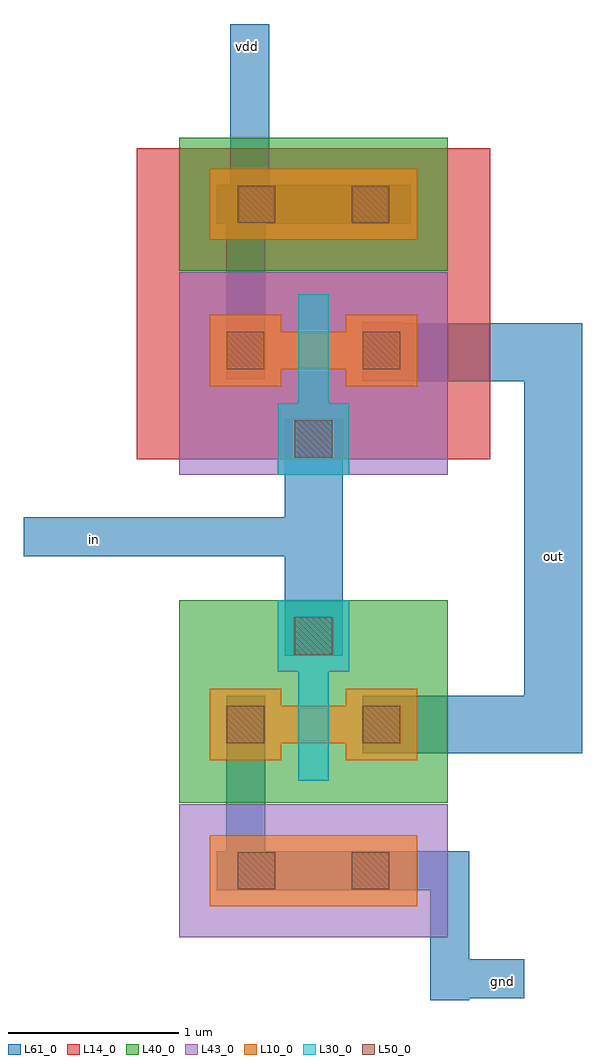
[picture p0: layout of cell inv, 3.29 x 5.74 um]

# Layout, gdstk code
import gdstk
lib = gdstk.Library(unit=1e-6, precision=1e-09)
def R(c, l, rs):  # rectangles x0, y0, x1, y1
    for r in rs: c.add(gdstk.rectangle(r[:2], r[2:], *l))
L10_0 = (10, 0)
L14_0 = (14, 0)
L30_0 = (30, 0)
L40_0 = (40, 0)
L43_0 = (43, 0)
L50_0 = (50, 0)
L61_0 = (61, 0)

n18_cdns_777785504870 = lib.new_cell('n18_CDNS_777785504870')
R(n18_cdns_777785504870, L10_0, [(-0.52,-0.96,0.7,-0.54), (-0.52,-0.1,-0.1,0.32), (0.28,-0.1,0.7,0.32), (-0.1,0,0,0.22), (0,0,0.18,0.22), (0.18,0,0.28,0.22)])
R(n18_cdns_777785504870, L30_0, [(0,-0.22,0.18,0), (0,0,0.18,0.22), (0,0.22,0.18,0.42), (-0.12,0.42,0.3,0.84)])
R(n18_cdns_777785504870, L40_0, [(-0.7,-0.35,0.88,0.84)])
R(n18_cdns_777785504870, L43_0, [(-0.7,-1.14,0.88,-0.36)])
R(n18_cdns_777785504870, L50_0, [(-0.355,-0.86,-0.135,-0.64), (0.315,-0.86,0.535,-0.64), (-0.42,0,-0.2,0.22), (0.38,0,0.6,0.22), (-0.02,0.52,0.2,0.74)])
R(n18_cdns_777785504870, L61_0, [(-0.48,-0.865,0.66,-0.635), (-0.425,-0.06,-0.195,0.28), (0.375,-0.06,0.605,0.28), (-0.08,0.515,0.26,0.745)])
n18_cdns_777785504870.add(gdstk.Label('& Metric 1.0', (0.005,0.001), layer=63, texttype=63))
n18_cdns_777785504870.add(gdstk.Label('& Product "0.18um Mixed Signal 1.8/3.3V Enhanced Cadence PDK (ON6J)"', (0.029,0.003), layer=63, texttype=63))
n18_cdns_777785504870.add(gdstk.Label('& Vendor "Semiconductor Manufacturing International Corporation."', (0.027,0.005), layer=63, texttype=63))

p18_cdns_777785504871 = lib.new_cell('p18_CDNS_777785504871')
R(p18_cdns_777785504871, L10_0, [(-0.52,-0.1,-0.1,0.32), (0.28,-0.1,0.7,0.32), (-0.1,0,0,0.22), (0,0,0.18,0.22), (0.18,0,0.28,0.22), (-0.52,0.76,0.7,1.18)])
R(p18_cdns_777785504871, L14_0, [(-0.95,-0.53,1.13,1.3)])
R(p18_cdns_777785504871, L30_0, [(-0.12,-0.62,0.3,-0.2), (0,-0.2,0.18,0), (0,0,0.18,0.22), (0,0.22,0.18,0.44)])
R(p18_cdns_777785504871, L40_0, [(-0.7,0.58,0.88,1.36)])
R(p18_cdns_777785504871, L43_0, [(-0.7,-0.62,0.88,0.57)])
R(p18_cdns_777785504871, L50_0, [(-0.02,-0.52,0.2,-0.3), (-0.42,0,-0.2,0.22), (0.38,0,0.6,0.22), (-0.355,0.86,-0.135,1.08), (0.315,0.86,0.535,1.08)])
R(p18_cdns_777785504871, L61_0, [(-0.08,-0.525,0.26,-0.295), (-0.425,-0.06,-0.195,0.28), (0.375,-0.06,0.605,0.28), (-0.48,0.855,0.66,1.085)])
p18_cdns_777785504871.add(gdstk.Label('& Metric 1.0', (0.005,0.001), layer=63, texttype=63))
p18_cdns_777785504871.add(gdstk.Label('& Product "0.18um Mixed Signal 1.8/3.3V Enhanced Cadence PDK (ON6J)"', (0.029,0.003), layer=63, texttype=63))
p18_cdns_777785504871.add(gdstk.Label('& Vendor "Semiconductor Manufacturing International Corporation."', (0.027,0.005), layer=63, texttype=63))

inv = lib.new_cell('inv')
R(inv, L61_0, [(2.6,-6.6,2.83,-6.37), (2.9,-4.1,3.13,-3.87), (0.2,-4,0.43,-3.77), (1.1,-1.1,1.33,-0.87)])
inv.add(gdstk.FlexPath([(2.39,-6.61),(2.39,-6.485)], 0.23, ends=(0, 0.115), simple_path=True, layer=61, datatype=0))  # L61_0
inv.add(gdstk.FlexPath([(2.83,-6.485),(2.39,-6.485)], 0.23, ends=(0, 0.115), simple_path=True, layer=61, datatype=0))  # L61_0
inv.add(gdstk.FlexPath([(1.59,-3.425),(1.59,-3.885)], 0.34, ends=(0, 0.115), simple_path=True, layer=61, datatype=0))  # L61_0
inv.add(gdstk.FlexPath([(2.105,-4.99),(3,-4.99)], 0.34, ends=(0, 0.17), simple_path=True, layer=61, datatype=0))  # L61_0
inv.add(gdstk.FlexPath([(2.39,-5.85),(2.16,-5.85)], 0.23, ends=(0.115, 0), simple_path=True, layer=61, datatype=0))  # L61_0
inv.add(gdstk.FlexPath([(2.39,-6.485),(2.39,-5.85)], 0.23, ends="extended", simple_path=True, layer=61, datatype=0))  # L61_0
inv.add(gdstk.FlexPath([(3,-4.99),(3,-2.8)], 0.34, ends="extended", simple_path=True, layer=61, datatype=0))  # L61_0
inv.add(gdstk.FlexPath([(1.19,-5.16),(1.19,-5.965)], 0.23, ends="flush", simple_path=True, layer=61, datatype=0))  # L61_0
inv.add(gdstk.FlexPath([(1.19,-2.62),(1.19,-1.815)], 0.23, ends="flush", simple_path=True, layer=61, datatype=0))  # L61_0
inv.add(gdstk.FlexPath([(3,-2.8),(1.875,-2.8)], 0.34, ends=(0.17, 0), simple_path=True, layer=61, datatype=0))  # L61_0
inv.add(gdstk.FlexPath([(0.43,-3.885),(1.59,-3.885)], 0.23, ends=(0, 0.17), simple_path=True, layer=61, datatype=0))  # L61_0
inv.add(gdstk.FlexPath([(0,-3.885),(0,-4)], 0.23, ends=(0.115, 0), simple_path=True, layer=61, datatype=0))  # L61_0
inv.add(gdstk.FlexPath([(0.315,-3.885),(0,-3.885)], 0.23, ends=(0, 0.115), simple_path=True, layer=61, datatype=0))  # L61_0
inv.add(gdstk.FlexPath([(1.215,-0.985),(1.215,-2.045)], 0.23, ends="flush", simple_path=True, layer=61, datatype=0))  # L61_0
inv.add(gdstk.FlexPath([(1.59,-3.885),(1.59,-4.355)], 0.34, ends=(0.115, 0), simple_path=True, layer=61, datatype=0))  # L61_0
inv.add(gdstk.Reference(n18_cdns_777785504870, (1.5,-5.1)))
inv.add(gdstk.Reference(p18_cdns_777785504871, (1.5,-2.9)))
inv.add(gdstk.Label('out', (3,-4), layer=1, texttype=0))
inv.add(gdstk.Label('in', (0.3,-3.9), layer=1, texttype=0))
inv.add(gdstk.Label('vdd', (1.2,-1), layer=1, texttype=0))
inv.add(gdstk.Label('gnd', (2.7,-6.5), layer=1, texttype=0))

lib.write_gds('inv.gds')
